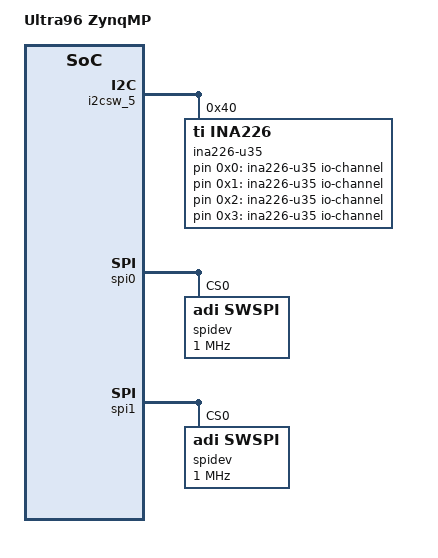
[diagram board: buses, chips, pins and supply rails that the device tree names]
/include/ "system-conf.dtsi"

/ {
    model = "Ultra96 ZynqMP";
};

/{
    chosen {
        bootargs = "earlyprintk clk_ignore_unused cma=1664M root=/dev/mmcblk0p2 rw rootwait";
    };

};

/ {
	ina226-u35 {
		compatible = "iio-hwmon";
		io-channels = <&u35 0x0 &u35 0x1 &u35 0x2 &u35 0x3>;
	};
};

&i2csw_5 {
	u35: ina226@40 {
		compatible = "ti,ina226";
		#io-channel-cells = <1>;
		label = "ina226-u35";
		reg = <0x40>;
		shunt-resistor = <0x2710>;
	};
};

&spi0 {
		is-decoded-cs = <0>;
		num-cs = <1>;
		status = "okay";
		spidev@0x00 {
				compatible = "adi,swspi";
				spi-max-frequency = <1000000>;
				reg = <0>;
		};
};

&spi1 {
		is-decoded-cs = <0>;
		num-cs = <1>;
		status = "okay";
		spidev@0x00 {
				compatible = "adi,swspi";
				spi-max-frequency = <1000000>;
				reg = <0>;
		};
};

/ {
     dpu: dpu@8f000000 {
         compatible = "deephi, dpu";
         reg = <0x0 0x8f000000 0x0 0x700>;
         interrupts = <0x0 106 0x1 0x0 107 0x1>;
         interrupt-parent = <&gic>;
         core-num = <0x2>;

         softmax@800001000 {
            compatible = "deephi,smfc";
            interrupt-parent = <&gic>;
            interrupts = <0x0 110 0x1>;
            core-num = <0x1>;
        };
     };
     dpcma: dpcma {
         compatible = "deephi,cma";
     };

};


